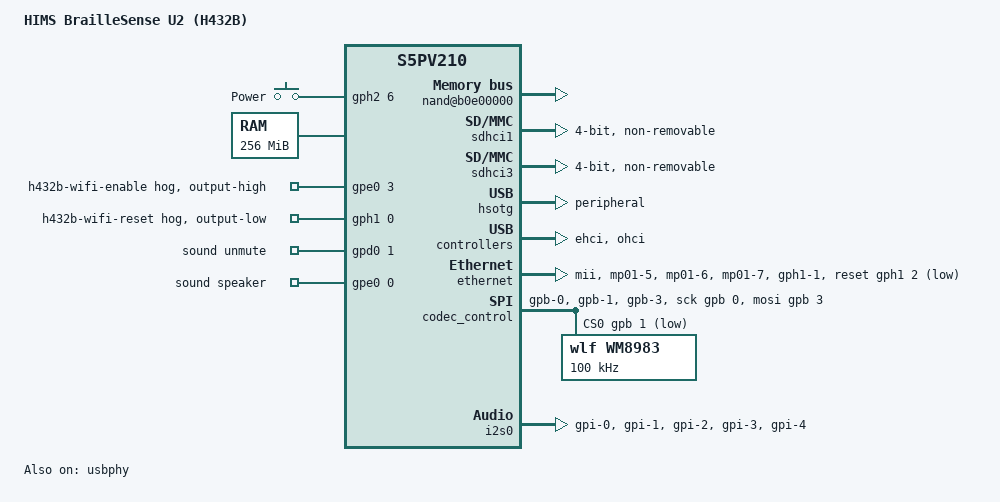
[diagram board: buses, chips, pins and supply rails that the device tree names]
// SPDX-License-Identifier: GPL-2.0
/*
 * HIMS BrailleSense U2 (H432B)
 *
 * Shared board wiring. Runtime and qualification profiles add peripherals
 * and select their storage/power policy in separate includes. GPIO wiring
 * is specific to this board, not an S5PV210 reference design.
 */

/dts-v1/;

#include "s5pv210.dtsi"
#include <dt-bindings/interrupt-controller/irq.h>
#include <dt-bindings/gpio/gpio.h>
#include <dt-bindings/input/input.h>

/ {
	model = "HIMS BrailleSense U2 (H432B)";
	compatible = "hims,braillesense-u2", "samsung,s5pv210";

	chosen {
		bootargs = "console=ttyGS0,115200 rdinit=/init loglevel=8 ignore_loglevel clk_ignore_unused g_serial.iManufacturer=\"Fractal Microsystems\" g_serial.iProduct=\"Braille Sense U2 (Linux)\"";
	};

	/* GPH2[6] was correlated with four physical press/release pairs.
	 * Keep the inherited pull configuration; gpio-keys owns the input/IRQ.
	 * The suspend include adds the board's sole permitted wake source.
	 */
	power-keys {
		compatible = "gpio-keys";
		label = "H432B power switch";
		power-button {
			label = "Power";
			linux,code = <KEY_POWER>;
			gpios = <&gph2 6 GPIO_ACTIVE_HIGH>;
			debounce-interval = <20>;
		};
	};

	/* CE ROM header and the product specification both report 256 MiB. */
	memory@40000000 {
		device_type = "memory";
		reg = <0x40000000 0x10000000>;
	};

	/*
	 * Peripheral includes supply the board-specific wiring and enable these
	 * devices for the profiles which use them.
	 */
	braille {
		compatible = "hims,braillesense-u2-braille";
		status = "disabled";
	};

	keys {
		compatible = "hims,braillesense-u2-keys";
		status = "disabled";
	};

	/* Factory-compatible BCH layout; the profile selects the writable window. */
	nand@b0e00000 {
		compatible = "hims,h432b-nand";
		reg = <0xb0e00000 0x1000>;
		clocks = <&clocks CLK_NFCON>, <&clocks CLK_NANDXL>;
		clock-names = "nand", "bus";
	};
};

/* Override upstream labelled oscillators, not a new unreferenced node. */
&xusbxti { clock-frequency = <24000000>; };
&xxti { clock-frequency = <24000000>; };

/*
 * Internal SD storage. The diagnostic base is read-only; runtime removes it.
 */
&sdhci1 {
	bus-width = <4>;
	non-removable;
	cap-mmc-highspeed;
	/* Board-scoped block-layer guard in the diagnostic kernel patch. */
	hims,read-only-probe;
	max-frequency = <25000000>;
	no-1-8-v;
	no-sdio;
	pinctrl-names = "default";
	pinctrl-0 = <&sd1_clk &sd1_cmd &sd1_bus1 &sd1_bus4>;
	status = "okay";
};

/* Onboard RTL8712S function; runtime includes its explicit firmware profile. */
&sdhci3 {
	/* This is the controller's input selector, NOT its channel number.
	 * CE writes CONTROL2 baseclk=2; the upstream .3 label stalls its clock. */
	clock-names = "hsmmc", "mmc_busclk.0", "mmc_busclk.2";
	bus-width = <4>;
	non-removable;
	cap-sdio-irq;
	no-mmc;
	no-sd;
	no-1-8-v;
	max-frequency = <25000000>;
	post-power-on-delay-ms = <200>;
	hims,read-only-probe;
	/* Live 024c:8712 function1 lacks CIS END after its valid FUNCE. */
	hims,rtl8712-cis-end-quirk;
	pinctrl-names = "default";
	pinctrl-0 = <&sd3_clk &sd3_cmd &sd3_bus1 &sd3_bus4>;
	status = "okay";
};

/* Board radio enable/reset ordering: GPE0[3] high, then GPH1[0] low.
 * GPIO banks register in that order. The suspend profile retains both
 * outputs; neither line is a braille or PMIC control. */
&gpe0 {
	wifi-enable-hog {
		gpio-hog;
		gpios = <3 GPIO_ACTIVE_HIGH>;
		output-high;
		line-name = "h432b-wifi-enable";
	};
};
&gph1 {
	wifi-reset-hog {
		gpio-hog;
		gpios = <0 GPIO_ACTIVE_HIGH>;
		output-low;
		line-name = "h432b-wifi-reset";
	};
};

/* Normal CE USB Sync proves this controller/PHY as a device-mode function. */
&hsotg {
	dr_mode = "peripheral";
	status = "okay";
};

&usbphy {
	status = "okay";
};

/* Separate host controller/PHY: keep HSOTG's USB console in device mode.
 * Board hub/VBUS GPIOs are inherited, not guessed or changed here. */
&ehci { status = "okay"; };
&ohci { status = "okay"; };

/*
 * Live BYTE_TEST=0x87654321 and ID_REV=0x92200000 identify LAN9220.
 * CE initializes SROM bank5 as 16-bit, EINT9 active-low and GPH1[2] reset.
 * Bank timing 0x040e1460 is currently inherited from the factory boot path.
 */
&pinctrl0 {
	ethernet_bus: ethernet-bus-pins {
		samsung,pins = "mp01-5", "mp01-6", "mp01-7";
		samsung,pin-function = <2>;
	};
	ethernet_irq: ethernet-irq-pins {
		samsung,pins = "gph1-1";
		samsung,pin-function = <0xf>;
		samsung,pin-pud = <2>;
	};
};

&{/} {
	aliases {
		ethernet0 = &ethernet;
	};
	ethernet: ethernet@a8000000 {
		compatible = "smsc,lan9220", "smsc,lan9115";
		reg = <0xa8000000 0x10000>;
		reg-io-width = <2>;
		phy-mode = "mii";
		pinctrl-names = "default";
		pinctrl-0 = <&ethernet_bus &ethernet_irq>;
		clocks = <&clocks CLK_SROMC>;
		interrupt-parent = <&gph1>;
		interrupts = <1 IRQ_TYPE_LEVEL_LOW>;
		reset-gpios = <&gph1 2 GPIO_ACTIVE_LOW>;
		smsc,force-internal-phy;
		smsc,save-mac-address;
		status = "okay";
	};
};

/*
 * UART0 Bluetooth and UART1 GPS are enabled by their peripheral includes.
 * Unrouted/debug UARTs remain disabled.
 */
&uart0 { status = "disabled"; };
&uart1 { status = "disabled"; };
&uart2 { status = "disabled"; };
&uart3 { status = "disabled"; };

/* Board audio wiring. The input include adds microphone routing and jack
 * detectors; the machine driver owns codec and amplifier sequencing.
 */
&{/} {
	codec_control: spi {
		compatible = "spi-gpio";
		#address-cells = <1>;
		#size-cells = <0>;
		num-chipselects = <1>;
		sck-gpios = <&gpb 0 GPIO_ACTIVE_HIGH>;
		mosi-gpios = <&gpb 3 GPIO_ACTIVE_HIGH>;
		cs-gpios = <&gpb 1 GPIO_ACTIVE_LOW>;
		pinctrl-names = "default";
		pinctrl-0 = <&u2_codec_spi_pins>;

		wm8983: codec@0 {
			compatible = "wlf,wm8983";
			reg = <0>;
			spi-max-frequency = <100000>;
			#sound-dai-cells = <0>;
		};
	};

	sound {
		compatible = "hims,h432b-audio";
		hims,i2s-controller = <&i2s0>;
		hims,audio-codec = <&wm8983>;
		unmute-gpios = <&gpd0 1 GPIO_ACTIVE_HIGH>;
		speaker-gpios = <&gpe0 0 GPIO_ACTIVE_HIGH>;
		clocks = <&clocks FOUT_EPLL>, <&clk_audss CLK_MOUT_AUDSS>,
			 <&clk_audss CLK_MOUT_I2S_A>,
			 <&clk_audss CLK_DOUT_AUD_BUS>, <&clk_audss CLK_I2S>,
			 <&clocks CLK_PDMA0>;
		clock-names = "epll", "audmux", "i2smux", "bus", "i2s",
			      "dma-request";
	};
};

&pinctrl0 {
	u2_codec_spi_pins: u2-codec-spi-pins {
		samsung,pins = "gpb-0", "gpb-1", "gpb-3";
		samsung,pin-function = <S5PV210_PIN_FUNC_OUTPUT>;
		samsung,pin-pud = <S5PV210_PIN_PULL_NONE>;
	};
	u2_i2s_pins: u2-i2s-pins {
		/* Stock selects only GPI0..4, not the extra multichannel pins. */
		samsung,pins = "gpi-0", "gpi-1", "gpi-2", "gpi-3", "gpi-4";
		samsung,pin-function = <S5PV210_PIN_FUNC_2>;
		samsung,pin-pud = <S5PV210_PIN_PULL_NONE>;
	};
};

&i2s0 {
	/* IISMOD[10]=1 selects the divided functional I2S clock, not AUD_BUS.
	 * The old reversed mapping made the driver divide by four a second time.
	 * Selecting opclk1 also enables functional gate6 through CCF.
	 */
	clocks = <&clk_audss CLK_HCLK_I2S>, <&clk_audss CLK_DOUT_AUD_BUS>,
		 <&clk_audss CLK_I2S>;
	pinctrl-0 = <&u2_i2s_pins>;
	status = "okay";
};
